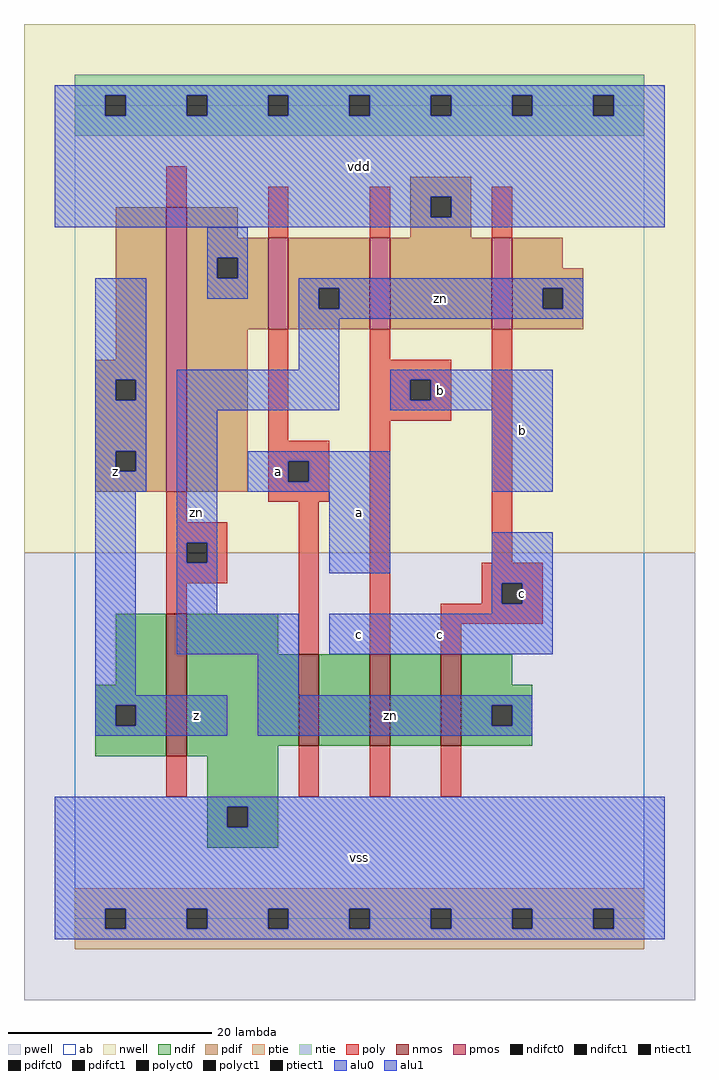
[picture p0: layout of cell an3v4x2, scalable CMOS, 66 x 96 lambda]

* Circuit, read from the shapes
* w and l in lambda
.subckt an3v4x2 a b c vdd vss z zn
M1 vss zn z vss nfet w=14 l=2
M2 n1 a vss vss nfet w=9 l=2
M3 n2 b n1 vss nfet w=9 l=2
M4 zn c n2 vss nfet w=9 l=2
M5 vdd zn z vdd pfet w=28 l=2
M6 zn a vdd vdd pfet w=9 l=2
M7 vdd b zn vdd pfet w=9 l=2
M8 zn c vdd vdd pfet w=9 l=2
.ends

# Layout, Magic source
magic
tech scmos
<< ab >>
rect 0 0 56 80
<< nwell >>
rect -5 36 61 88
<< pwell >>
rect -5 -8 61 36
<< poly >>
rect 9 70 11 74
rect 19 67 21 72
rect 29 67 31 72
rect 41 67 43 72
rect 19 47 21 58
rect 29 55 31 58
rect 29 53 37 55
rect 29 51 33 53
rect 35 51 37 53
rect 29 49 37 51
rect 19 45 25 47
rect 19 43 21 45
rect 23 43 25 45
rect 9 39 11 42
rect 19 41 25 43
rect 9 37 15 39
rect 9 35 11 37
rect 13 35 15 37
rect 9 33 15 35
rect 9 30 11 33
rect 22 26 24 41
rect 29 26 31 49
rect 41 35 43 58
rect 40 33 46 35
rect 40 31 42 33
rect 44 31 46 33
rect 36 29 46 31
rect 36 26 38 29
rect 9 12 11 16
rect 22 12 24 17
rect 29 12 31 17
rect 36 12 38 17
<< ndif >>
rect 4 23 9 30
rect 2 21 9 23
rect 2 19 4 21
rect 6 19 9 21
rect 2 16 9 19
rect 11 26 20 30
rect 11 17 22 26
rect 24 17 29 26
rect 31 17 36 26
rect 38 23 43 26
rect 38 21 45 23
rect 38 19 41 21
rect 43 19 45 21
rect 38 17 45 19
rect 11 16 20 17
rect 13 11 20 16
rect 13 9 15 11
rect 17 9 20 11
rect 13 7 20 9
<< pdif >>
rect 4 55 9 70
rect 2 53 9 55
rect 2 51 4 53
rect 6 51 9 53
rect 2 46 9 51
rect 2 44 4 46
rect 6 44 9 46
rect 2 42 9 44
rect 11 67 16 70
rect 33 71 39 73
rect 33 69 35 71
rect 37 69 39 71
rect 33 67 39 69
rect 11 65 19 67
rect 11 63 14 65
rect 16 63 19 65
rect 11 58 19 63
rect 21 62 29 67
rect 21 60 24 62
rect 26 60 29 62
rect 21 58 29 60
rect 31 58 41 67
rect 43 64 48 67
rect 43 62 50 64
rect 43 60 46 62
rect 48 60 50 62
rect 43 58 50 60
rect 11 42 17 58
<< alu1 >>
rect -2 81 58 82
rect -2 79 3 81
rect 5 79 11 81
rect 13 79 19 81
rect 21 79 27 81
rect 29 79 35 81
rect 37 79 43 81
rect 45 79 51 81
rect 53 79 58 81
rect -2 71 58 79
rect -2 69 35 71
rect 37 69 58 71
rect -2 68 58 69
rect 2 53 7 63
rect 2 51 4 53
rect 6 51 7 53
rect 2 46 7 51
rect 2 44 4 46
rect 6 44 7 46
rect 2 42 7 44
rect 31 53 47 54
rect 31 51 33 53
rect 35 51 47 53
rect 31 50 47 51
rect 2 22 6 42
rect 17 45 31 46
rect 17 43 21 45
rect 23 43 31 45
rect 17 42 31 43
rect 41 42 47 50
rect 25 34 31 42
rect 41 33 47 38
rect 41 31 42 33
rect 44 31 47 33
rect 41 30 47 31
rect 25 26 47 30
rect 2 21 15 22
rect 2 19 4 21
rect 6 19 15 21
rect 2 18 15 19
rect -2 11 58 12
rect -2 9 15 11
rect 17 9 58 11
rect -2 1 58 9
rect -2 -1 3 1
rect 5 -1 11 1
rect 13 -1 19 1
rect 21 -1 27 1
rect 29 -1 35 1
rect 37 -1 43 1
rect 45 -1 51 1
rect 53 -1 58 1
rect -2 -2 58 -1
<< ptie >>
rect 0 1 56 3
rect 0 -1 3 1
rect 5 -1 11 1
rect 13 -1 19 1
rect 21 -1 27 1
rect 29 -1 35 1
rect 37 -1 43 1
rect 45 -1 51 1
rect 53 -1 56 1
rect 0 -3 56 -1
<< ntie >>
rect 0 81 56 83
rect 0 79 3 81
rect 5 79 11 81
rect 13 79 19 81
rect 21 79 27 81
rect 29 79 35 81
rect 37 79 43 81
rect 45 79 51 81
rect 53 79 56 81
rect 0 77 56 79
<< nmos >>
rect 9 16 11 30
rect 22 17 24 26
rect 29 17 31 26
rect 36 17 38 26
<< pmos >>
rect 9 42 11 70
rect 19 58 21 67
rect 29 58 31 67
rect 41 58 43 67
<< polyct0 >>
rect 11 35 13 37
<< polyct1 >>
rect 33 51 35 53
rect 21 43 23 45
rect 42 31 44 33
<< ndifct0 >>
rect 41 19 43 21
<< ndifct1 >>
rect 4 19 6 21
rect 15 9 17 11
<< ntiect1 >>
rect 3 79 5 81
rect 11 79 13 81
rect 19 79 21 81
rect 27 79 29 81
rect 35 79 37 81
rect 43 79 45 81
rect 51 79 53 81
<< ptiect1 >>
rect 3 -1 5 1
rect 11 -1 13 1
rect 19 -1 21 1
rect 27 -1 29 1
rect 35 -1 37 1
rect 43 -1 45 1
rect 51 -1 53 1
<< pdifct0 >>
rect 14 63 16 65
rect 24 60 26 62
rect 46 60 48 62
<< pdifct1 >>
rect 4 51 6 53
rect 4 44 6 46
rect 35 69 37 71
<< alu0 >>
rect 13 65 17 68
rect 13 63 14 65
rect 16 63 17 65
rect 13 61 17 63
rect 22 62 50 63
rect 22 60 24 62
rect 26 60 46 62
rect 48 60 50 62
rect 22 59 50 60
rect 22 54 26 59
rect 10 50 26 54
rect 10 37 14 50
rect 10 35 11 37
rect 13 35 14 37
rect 10 30 14 35
rect 10 26 22 30
rect 18 22 22 26
rect 18 21 45 22
rect 18 19 41 21
rect 43 19 45 21
rect 18 18 45 19
<< labels >>
rlabel alu0 12 40 12 40 6 zn
rlabel alu0 31 20 31 20 6 zn
rlabel alu0 36 61 36 61 6 zn
rlabel alu1 4 44 4 44 6 z
rlabel alu1 12 20 12 20 6 z
rlabel alu1 20 44 20 44 6 a
rlabel alu1 28 6 28 6 6 vss
rlabel alu1 28 28 28 28 6 c
rlabel alu1 36 28 36 28 6 c
rlabel alu1 28 40 28 40 6 a
rlabel alu1 36 52 36 52 6 b
rlabel alu1 28 74 28 74 6 vdd
rlabel alu1 44 32 44 32 6 c
rlabel alu1 44 48 44 48 6 b
<< end >>
